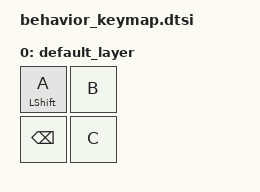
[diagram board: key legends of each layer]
/*
 * Copyright (c) 2024 The ZMK Contributors
 *
 * SPDX-License-Identifier: MIT
 */

#include <dt-bindings/zmk/keys.h>
#include <behaviors.dtsi>
#include <dt-bindings/zmk/kscan_mock.h>

/ {
    behaviors {
        ht_consider_pos: behavior_hold_tap_consider_positions {
            compatible = "zmk,behavior-hold-tap";
            #binding-cells = <2>;
            flavor = "balanced";
            tapping-term-ms = <300>;
            quick-tap-ms = <300>;
            require-prior-idle-ms = <100>;
            idle-consider-key-positions = <0 1 3>;  // All positions except position 2 (backspace)
            bindings = <&kp>, <&kp>;
        };
    };

    keymap {
        compatible = "zmk,keymap";

        default_layer {
            bindings = <
                &ht_consider_pos LEFT_SHIFT A &kp B
                &kp BACKSPACE &kp C>;  // BACKSPACE is at position 2 (row 1, col 0)
        };
    };
};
